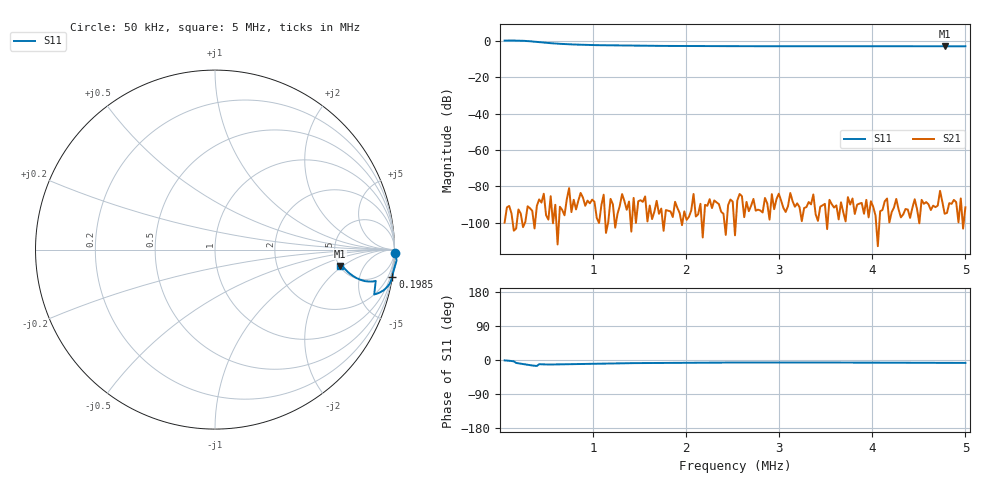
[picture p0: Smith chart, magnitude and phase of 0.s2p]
! NanoVNA-App by OneOfEleven et al v1.1.209 (+OD15)
! Date: 2024-07-30 12:37:08
! Start: 50kHz Stop: 5MHz Points: 201
! S-Parameter data: F S11 S21 S12 S22
# Hz S RI R 50
!  Frequency  S11_Real  S11_Imag  S21_Real  S21_Imag  S12_Real  S12_Imag  S22_Real  S22_Imag
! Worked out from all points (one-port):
!   201 points, 50 kHz to 5 MHz, reference 50 ohm
!   lowest |S11| = -3.1 dB at 4.777 MHz (marker M1), VSWR 5.69, Z = 251 - j90.2 ohm
!   |S11| at or under -10 dB: nowhere
!   S11 on the Smith chart (normalised r, x): 50 kHz: open; 198.5 kHz: 0, -13; 5 MHz: 5.00, -1.85
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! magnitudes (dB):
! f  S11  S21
! 50 kHz  0.0  -99.9
! 74.75 kHz  0.0  -91.5
! 149 kHz  0.1  -104.3
! 173.8 kHz  0.0  -103.1
! 198.5 kHz  0.0  -92.6
! 248 kHz  -0.1  -102.3
! 297.5 kHz  -0.2  -90.9
! 495.5 kHz  -1.2  -95.8
! 619.2 kHz  -1.7  -111.8
! 718.2 kHz  -1.9  -87.0
! 792.5 kHz  -2.1  -87.3
! 891.5 kHz  -2.3  -86.1
! 1.04 MHz  -2.5  -97.3
! 1.213 MHz  -2.6  -89.8
! 1.411 MHz  -2.7  -104.8
! 1.708 MHz  -2.9  -95.0
! 2.055 MHz  -3.0  -93.2
! 2.525 MHz  -3.0  -106.8
! 3.366 MHz  -3.1  -84.4
! 4.183 MHz  -3.1  -99.7
! 4.777 MHz  -3.1  -95.0
! 5 MHz  -3.1  -91.4
